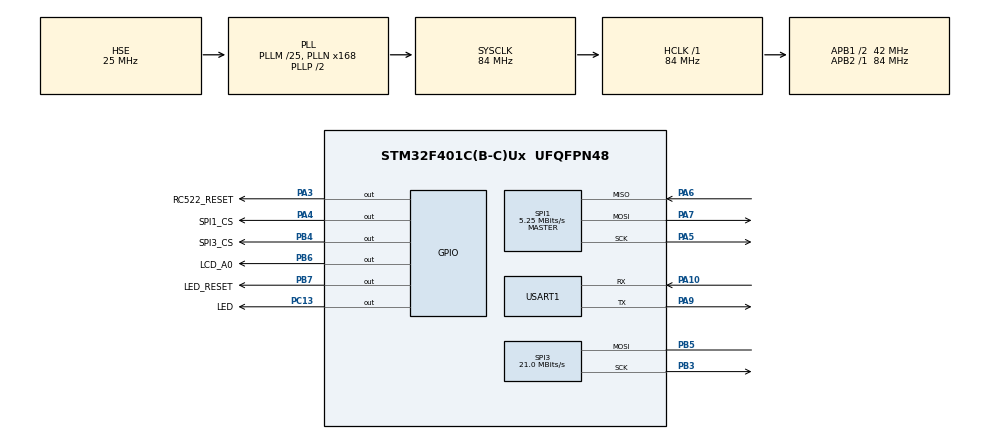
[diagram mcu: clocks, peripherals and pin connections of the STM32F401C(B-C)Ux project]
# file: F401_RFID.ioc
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Mcu.Family=STM32F4
Mcu.Name=STM32F401C(B-C)Ux
Mcu.Package=UFQFPN48
NVIC.PriorityGroup=NVIC_PRIORITYGROUP_4
PA10.Mode=Asynchronous
PA10.Signal=USART1_RX
PA13.Mode=Serial_Wire
PA13.Signal=SYS_JTMS-SWDIO
PA14.Mode=Serial_Wire
PA14.Signal=SYS_JTCK-SWCLK
PA3.GPIO_Label=RC522_RESET
PA3.Signal=GPIO_Output
PA4.GPIO_Label=SPI1_CS
PA4.Signal=GPIO_Output
PA5.Mode=Full_Duplex_Master
PA5.Signal=SPI1_SCK
PA6.Mode=Full_Duplex_Master
PA6.Signal=SPI1_MISO
PA7.Mode=Full_Duplex_Master
PA7.Signal=SPI1_MOSI
PA9.Mode=Asynchronous
PA9.Signal=USART1_TX
PB3.Mode=Simplex_Bidirectional_Master
PB3.Signal=SPI3_SCK
PB4.GPIO_Label=SPI3_CS
PB4.Signal=GPIO_Output
PB5.Mode=Simplex_Bidirectional_Master
PB5.Signal=SPI3_MOSI
PB6.GPIO_Label=LCD_A0
PB6.Signal=GPIO_Output
PB7.GPIO_Label=LED_RESET
PB7.Signal=GPIO_Output
PC13-ANTI_TAMP.GPIO_Label=LED
PC13-ANTI_TAMP.Signal=GPIO_Output
PH0\ -\ OSC_IN.Mode=HSE-External-Oscillator
PH0\ -\ OSC_IN.Signal=RCC_OSC_IN
PH1\ -\ OSC_OUT.Mode=HSE-External-Oscillator
PH1\ -\ OSC_OUT.Signal=RCC_OSC_OUT
ProjectManager.HeapSize=0x300
ProjectManager.StackSize=0x500
ProjectManager.TargetToolchain=MDK-ARM V5.27
RCC.48MHZClocksFreq_Value=42000000
RCC.AHBFreq_Value=84000000
RCC.APB1CLKDivider=RCC_HCLK_DIV2
RCC.APB1Freq_Value=42000000
RCC.APB1TimFreq_Value=84000000
RCC.APB2Freq_Value=84000000
RCC.APB2TimFreq_Value=84000000
RCC.CortexFreq_Value=84000000
RCC.HCLKFreq_Value=84000000
RCC.HSE_VALUE=25000000
RCC.HSI_VALUE=16000000
RCC.LSE_VALUE=32768
RCC.PLLM=25
RCC.PLLN=168
RCC.PLLSourceVirtual=RCC_PLLSOURCE_HSE
RCC.SYSCLKFreq_VALUE=84000000
RCC.SYSCLKSource=RCC_SYSCLKSOURCE_PLLCLK
RCC.VCOOutputFreq_Value=168000000
SPI1.BaudRatePrescaler=SPI_BAUDRATEPRESCALER_16
SPI1.CalculateBaudRate=5.25 MBits/s
SPI1.Direction=SPI_DIRECTION_2LINES
SPI1.Mode=SPI_MODE_MASTER
SPI1.VirtualType=VM_MASTER
SPI3.BaudRatePrescaler=SPI_BAUDRATEPRESCALER_2
SPI3.CalculateBaudRate=21.0 MBits/s
SPI3.Direction=SPI_DIRECTION_1LINE
SPI3.Mode=SPI_MODE_MASTER
SPI3.VirtualType=VM_MASTER
USART1.VirtualMode=VM_ASYNC
board=custom

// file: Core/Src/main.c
/* USER CODE BEGIN Header */
/**
  ******************************************************************************
  * @file           : main.c
  * @brief          : Main program body
  ******************************************************************************
  * @attention
  *
  * <h2><center>&copy; Copyright (c) 2022 STMicroelectronics.
  * All rights reserved.</center></h2>
  *
  * This software component is licensed by ST under BSD 3-Clause license,
  * the "License"; You may not use this file except in compliance with the
  * License. You may obtain a copy of the License at:
  *                        opensource.org/licenses/BSD-3-Clause
  *
  ******************************************************************************
  */
/* USER CODE END Header */
#include "main.h"
#include "spi.h"
#include "usart.h"
#include "gpio.h"

/* USER CODE BEGIN Includes */
#include "st7735.h"
#include "delay.h"
#include "rc522.h"
#include "stdio.h"
#include "font7x15.h"
/* USER CODE END Includes */

/* USER CODE BEGIN PV */
uint8_t RC_size;
uint8_t status = MI_ERR; //
uint8_t	buffer_MFRC522 [MFRC522_MAX_LEN];
char	led_buffer [30];
char	tmp_buffer [15];
uint8_t sn[4];
uint8_t dimension = 10;

uint8_t sectorKeyA[16][16] = {{0xFF, 0xFF, 0xFF, 0xFF, 0xFF, 0xFF},
                             {0xFF, 0xFF, 0xFF, 0xFF, 0xFF, 0xFF},
                             {0xFF, 0xFF, 0xFF, 0xFF, 0xFF, 0xFF},
                             {0xFF, 0xFF, 0xFF, 0xFF, 0xFF, 0xFF},};
/* USER CODE END PV */

void SystemClock_Config(void);

int main(void)
{

  /* MCU Configuration--------------------------------------------------------*/

  /* Reset of all peripherals, Initializes the Flash interface and the Systick. */
  HAL_Init();

  /* Configure the system clock */
  SystemClock_Config();

  /* Initialize all configured peripherals */
  MX_GPIO_Init();
  MX_SPI3_Init();
  MX_USART1_UART_Init();
  MX_SPI1_Init();
  /* USER CODE BEGIN 2 */
	HAL_UART_Transmit (&huart1, (uint8_t *)"start\r\n", strlen ("start\r\n"), 0xFFFF);

	RC522_enable();

	lcdInit();
	ClearLcdMemory();
	LCD_SetFont(Arial_15x17,black);
	LCD_ShowString(5,10,"RC522 Config reader");
	LCD_Refresh();

	LED(1);
	HAL_Delay (500);
  /* USER CODE END 2 */

  /* Infinite loop */
  /* USER CODE BEGIN WHILE */
  while (1)
  {
		MFRC522_Init();
//		LCD_SetFont(Arial_15x17,black);
		dimension = 10;
	  HAL_Delay(20);
		status = MI_ERR;
		// Look for the card, return type
	  status = MFRC522_Request(PICC_REQIDL, buffer_MFRC522);

		ClearLcdMemory();
	  if (status == MI_OK)
		{
			sprintf(led_buffer, "SAK: 0x%02X, 0x%02X", buffer_MFRC522[1], buffer_MFRC522[0]);
		  LCD_ShowString(5,dimension,led_buffer);
		}
		else
		{
			sprintf(led_buffer, "SAK: --------");
		  LCD_ShowString(5,dimension,led_buffer);
		}

		// Anti-collision, return the card's 4-byte serial number
		dimension += 15;
	  status = MFRC522_Anticoll(sn);
    if (status == MI_OK)
		{
			sprintf(led_buffer, "CN: %x%x%x%x", sn[0],sn[1],sn[2],sn[3]);
      LCD_ShowString(5,dimension,led_buffer);
		}
		else
		{
			sprintf(led_buffer, "CN: --------");
      LCD_ShowString(5,dimension,led_buffer);
		}

		// Election card, return capacity
		dimension += 15;
	  RC_size = MFRC522_SelectTag(sn);
	  if (RC_size != 0)
		{
			sprintf(led_buffer, "CS: %d", RC_size);
      LCD_ShowString(5,dimension,led_buffer);
		}
		else
		{
			sprintf(led_buffer, "CS: -");
			LCD_ShowString(5, dimension, led_buffer);
		}

		// Card reader
		dimension += 15;
	  status = MFRC522_Auth(PICC_AUTHENT1A, 11, sectorKeyA[2], sn);
	  if (status == MI_OK)
		{
			// Read data
		  status = MFRC522_Read (11, buffer_MFRC522);
	//		LCD_SetFont(NewBFontLAT,black);
			if (status == MI_OK)
			{
				sprintf(led_buffer, "%02X %02X %02X %02X %02X %02X", buffer_MFRC522[0], buffer_MFRC522[1], buffer_MFRC522[2],
				buffer_MFRC522[3], buffer_MFRC522[4], buffer_MFRC522[5]);
				LCD_ShowString(5, dimension, led_buffer);
				dimension += 15;

				sprintf(led_buffer, "%02X %02X %02X %02X %02X %02X", buffer_MFRC522[6], buffer_MFRC522[7], buffer_MFRC522[8],
				buffer_MFRC522[9], buffer_MFRC522[10], buffer_MFRC522[11]);
				LCD_ShowString(5, dimension, led_buffer);
				dimension += 15;

				sprintf(led_buffer, "%02X %02X %02X %02X", buffer_MFRC522[12], buffer_MFRC522[13], buffer_MFRC522[14],
				buffer_MFRC522[15]);
				LCD_ShowString(5, dimension, led_buffer);
		  }
	  }
		else
		{
			sprintf (led_buffer, "-- -- -- -- -- --");
			LCD_ShowString(30, dimension, led_buffer);
		}

		HAL_Delay(2);

		MFRC522_Halt();
		MFRC522_AntennaOff();

		LED(1);
//		LCD_ShowString(5,25,"LED ON");
		LCD_Refresh();
//		delay_ms (500);
		HAL_Delay (1000);

/*		LED(0);
		ClearLcdMemory();
		dimension = 10;
		LCD_ShowString(5,dimension,"LED OFF");
		LCD_Refresh();
//		delay_ms (500);
		HAL_Delay (500);*/
    /* USER CODE END WHILE */

  }
}

void SystemClock_Config(void)
{
  RCC_OscInitTypeDef RCC_OscInitStruct = {0};
  RCC_ClkInitTypeDef RCC_ClkInitStruct = {0};

  /** Configure the main internal regulator output voltage
  */
  __HAL_RCC_PWR_CLK_ENABLE();
  __HAL_PWR_VOLTAGESCALING_CONFIG(PWR_REGULATOR_VOLTAGE_SCALE2);
  /** Initializes the RCC Oscillators according to the specified parameters
  * in the RCC_OscInitTypeDef structure.
  */
  RCC_OscInitStruct.OscillatorType = RCC_OSCILLATORTYPE_HSE;
  RCC_OscInitStruct.HSEState = RCC_HSE_ON;
  RCC_OscInitStruct.PLL.PLLState = RCC_PLL_ON;
  RCC_OscInitStruct.PLL.PLLSource = RCC_PLLSOURCE_HSE;
  RCC_OscInitStruct.PLL.PLLM = 25;
  RCC_OscInitStruct.PLL.PLLN = 168;
  RCC_OscInitStruct.PLL.PLLP = RCC_PLLP_DIV2;
  RCC_OscInitStruct.PLL.PLLQ = 4;
  if (HAL_RCC_OscConfig(&RCC_OscInitStruct) != HAL_OK)
  {
    Error_Handler();
  }
  /** Initializes the CPU, AHB and APB buses clocks
  */
  RCC_ClkInitStruct.ClockType = RCC_CLOCKTYPE_HCLK|RCC_CLOCKTYPE_SYSCLK
                              |RCC_CLOCKTYPE_PCLK1|RCC_CLOCKTYPE_PCLK2;
  RCC_ClkInitStruct.SYSCLKSource = RCC_SYSCLKSOURCE_PLLCLK;
  RCC_ClkInitStruct.AHBCLKDivider = RCC_SYSCLK_DIV1;
  RCC_ClkInitStruct.APB1CLKDivider = RCC_HCLK_DIV2;
  RCC_ClkInitStruct.APB2CLKDivider = RCC_HCLK_DIV1;

  if (HAL_RCC_ClockConfig(&RCC_ClkInitStruct, FLASH_LATENCY_2) != HAL_OK)
  {
    Error_Handler();
  }
}

void Error_Handler(void)
{
  __disable_irq();
  while (1)
  {
  }
}

/************************ (C) COPYRIGHT STMicroelectronics *****END OF FILE****/
